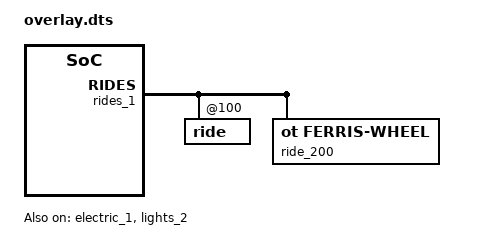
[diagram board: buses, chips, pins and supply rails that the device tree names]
/dts-v1/;
/plugin/;

/ {

	fragment@0 {
		target = <&electric_1>;

		__overlay__ {
			status = "ok";

			hvac_2: hvac-large-1 {
				compatible = "ot,hvac-large";
				heat-range = < 40 75 >;
				cool-range = < 65 80 >;
			};
		};
	};

	fragment@1 {
		target = <&rides_1>;

		__overlay__ {
			#address-cells = <1>;
			#size-cells = <1>;
			status = "ok";

			ride@100 {
				#address-cells = <1>;
				#size-cells = <1>;

				track@30 {
					incline-up = < 48 32 16 >;
				};

				track@40 {
					incline-up = < 47 31 15 >;
				};
			};

			ride_200: ride@200 {
				#address-cells = <1>;
				#size-cells = <1>;
				compatible = "ot,ferris-wheel";
				reg = < 0x00000200 0x100 >;
				hvac-provider = < &hvac_2 >;
				hvac-thermostat = < 27 32 > ;
				hvac-zones = < 12 5 >;
				hvac-zone-names = "operator", "snack-bar";
				spin-controller = < &spin_ctrl_1 3 >;
				spin-rph = < 30 >;
				gondolas = < 16 >;
				gondola-capacity = < 6 >;

				ride_200_left: track@10 {
					reg = < 0x00000010 0x10 >;
				};

				ride_200_right: track@20 {
					reg = < 0x00000020 0x10 >;
				};
			};
		};
	};

	fragment@2 {
		target = <&lights_2>;

		__overlay__ {
			status = "ok";
			color = "purple", "white", "red", "green";
			rate = < 3 256 >;
		};
	};

};
